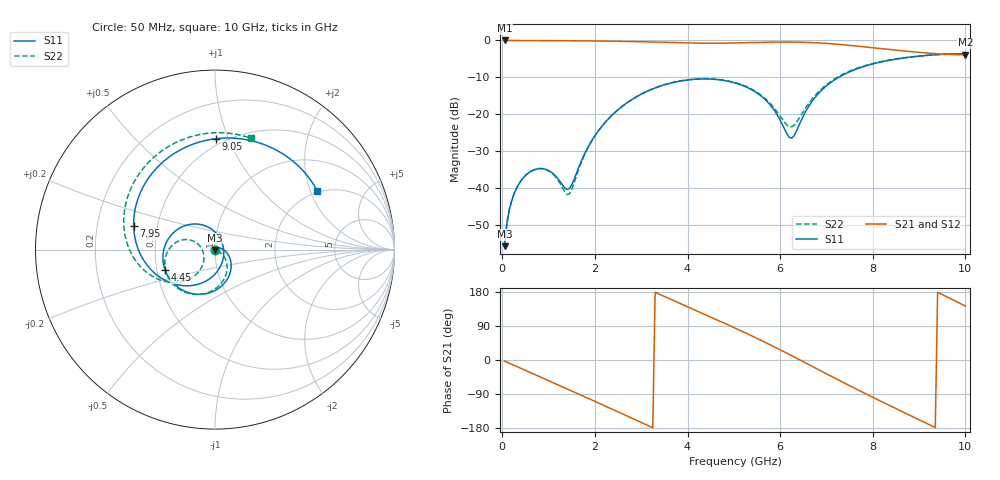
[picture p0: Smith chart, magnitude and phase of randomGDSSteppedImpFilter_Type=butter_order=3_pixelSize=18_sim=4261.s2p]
! freq	dB(S11)	phase(S11)	dB(S12)	phase(S12)
!  dB(S21)	phase(S21)	dB(S22)	phase(S22)
!S-par simulation data
#  GHz  S  DB  R 50
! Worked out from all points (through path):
!   200 points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, 50 MHz to 10 GHz, reference 50 ohm
!   highest |S21| = -0.01 dB at 50 MHz (marker M1); lowest = -3.9 dB at 10 GHz (marker M2)
!   group delay of S21, straight-line fit = 161 ps
!   lowest |S11| = -55.7 dB at 50 MHz (marker M3), VSWR 1.00, Z = 50 - j0.159 ohm
!   |S11| at or under -10 dB: start of sweep to 7.264 GHz
!   |S22| runs from -55.6 to -3.7 dB; largest |S21 - S12| = 0
!   S11 on the Smith chart (normalised r, x): 50 MHz: 1.00, -0.00; 4.45 GHz: 0.55, -0.14; 7.95 GHz: 0.37, +0.12; 9.05 GHz: 0.45, +0.90; 10 GHz: 1.95, +2.24
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0.05  -55.70 -74.8  -0.01 -2.8  -0.01 -2.8  -55.60 -73.7
0.1  -49.47 -87.0  -0.02 -5.5  -0.02 -5.5  -49.40 -85.1
0.2  -43.53 -98.3  -0.02 -10.9  -0.02 -10.9  -43.47 -94.5
0.45  -37.26 -117.8  -0.03 -24.5  -0.03 -24.5  -37.21 -108.6
0.95  -34.95 -157.4  -0.06 -51.7  -0.06 -51.7  -34.99 -128.1
1.45  -40.09 96.2  -0.09 -79.0  -0.09 -79.0  -41.55 -74.3
1.75  -31.43 22.3  -0.11 -95.5  -0.11 -95.5  -31.70 -30.4
2.15  -23.24 -15.2  -0.16 -117.6  -0.16 -117.6  -23.28 -39.1
2.65  -17.28 -49.3  -0.26 -145.4  -0.26 -145.4  -17.27 -61.3
3.4  -12.42 -95.4  -0.50 173.1  -0.50 173.1  -12.39 -98.2
3.9  -10.88 -125.0  -0.66 145.8  -0.66 145.8  -10.84 -122.8
4.45  -10.44 -157.6  -0.75 116.0  -0.75 116.0  -10.38 -149.2
5.05  -11.59 165.1  -0.68 82.9  -0.68 82.9  -11.49 -176.8
5.7  -16.31 116.4  -0.50 45.2  -0.50 45.2  -15.99 159.5
6.25  -26.45 2.3  -0.44 11.3  -0.44 11.3  -23.38 -160.4
6.7  -16.31 -96.0  -0.59 -17.3  -0.59 -17.3  -15.71 -126.7
7.35  -9.40 -152.0  -1.16 -58.5  -1.16 -58.5  -9.18 -150.7
7.95  -6.53 164.0  -1.91 -95.4  -1.91 -95.4  -6.40 179.5
8.35  -5.40 136.2  -2.44 -119.3  -2.44 -119.3  -5.32 159.3
9.05  -4.18 89.6  -3.28 -160.6  -3.28 -160.6  -4.19 123.5
9.5  -3.75 60.8  -3.70 172.7  -3.70 172.7  -3.81 99.7
10  -3.65 29.8  -3.89 142.2  -3.89 142.2  -3.72 71.9
